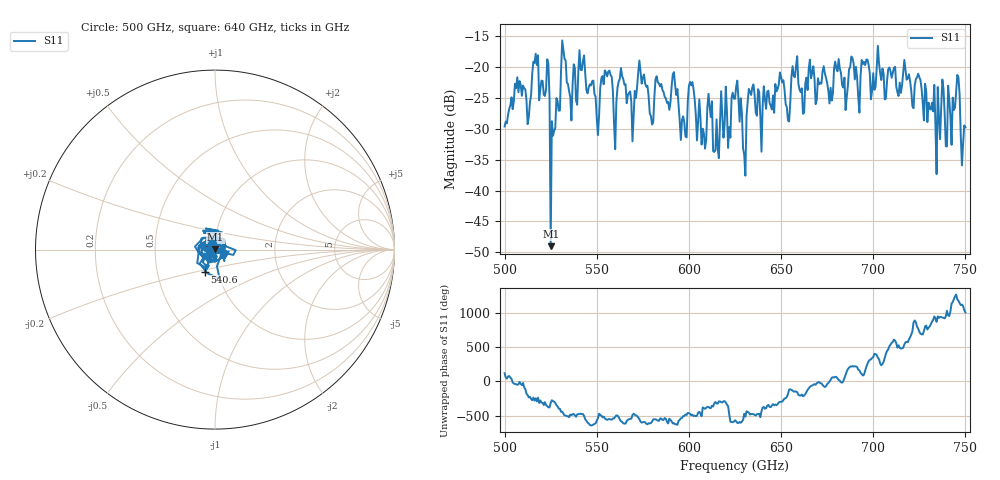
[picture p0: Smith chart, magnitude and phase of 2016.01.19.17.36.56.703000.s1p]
!Created with skrf (http://scikit-rf.org).
# GHz S RI R 50.0
!freq ReS11 ImS11
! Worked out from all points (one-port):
!   401 points, 500 GHz to 750 GHz, reference 50 ohm
!   lowest |S11| = -49.0 dB at 525 GHz (marker M1), VSWR 1.01, Z = 50.2 + j0.265 ohm
!   |S11| at or under -10 dB: start of sweep to end of sweep
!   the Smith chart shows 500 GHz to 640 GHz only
!   S11 on the Smith chart (normalised r, x): 500 GHz: 0.97, +0.06; 540.6 GHz: 0.87, -0.22; 640 GHz: 1.09, -0.04
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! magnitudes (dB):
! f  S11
! 500 GHz  -29.6
! 506.9 GHz  -21.7
! 513.1 GHz  -28.1
! 516.9 GHz  -17.9
! 523.1 GHz  -18.7
! 525 GHz  -49.0
! 526.2 GHz  -31.1
! 531.2 GHz  -15.7
! 540.6 GHz  -17.3
! 550 GHz  -28.3
! 562.5 GHz  -21.9
! 593.8 GHz  -23.6
! 597.5 GHz  -29.0
! 601.2 GHz  -23.0
! 608.1 GHz  -30.8
! 611.2 GHz  -26.5
! 615 GHz  -28.5
! 625 GHz  -25.1
! 630 GHz  -34.2
! 633.8 GHz  -24.5
! 640 GHz  -26.2
! 653.8 GHz  -28.7
! 656.2 GHz  -19.9
! 687.5 GHz  -20.0
! 718.8 GHz  -21.8
! 735 GHz  -23.2
! 745.6 GHz  -21.3
! 750 GHz  -29.8
